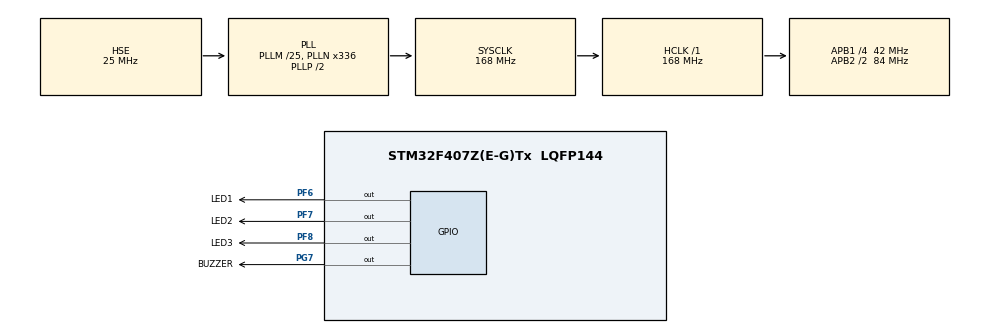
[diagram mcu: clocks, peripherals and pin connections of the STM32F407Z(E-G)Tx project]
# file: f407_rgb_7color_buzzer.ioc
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Mcu.Family=STM32F4
Mcu.Name=STM32F407Z(E-G)Tx
Mcu.Package=LQFP144
NVIC.PriorityGroup=NVIC_PRIORITYGROUP_4
PA13.Mode=Serial_Wire
PA13.Signal=SYS_JTMS-SWDIO
PA14.Mode=Serial_Wire
PA14.Signal=SYS_JTCK-SWCLK
PF6.GPIO_Label=LED1
PF6.PinState=GPIO_PIN_SET
PF6.Signal=GPIO_Output
PF7.GPIO_Label=LED2
PF7.PinState=GPIO_PIN_SET
PF7.Signal=GPIO_Output
PF8.GPIO_Label=LED3
PF8.PinState=GPIO_PIN_SET
PF8.Signal=GPIO_Output
PG7.GPIO_Label=BUZZER
PG7.Signal=GPIO_Output
PH0-OSC_IN.Mode=HSE-External-Oscillator
PH0-OSC_IN.Signal=RCC_OSC_IN
PH1-OSC_OUT.Mode=HSE-External-Oscillator
PH1-OSC_OUT.Signal=RCC_OSC_OUT
ProjectManager.HeapSize=0x200
ProjectManager.StackSize=0x400
ProjectManager.TargetToolchain=CMake
RCC.48MHZClocksFreq_Value=84000000
RCC.AHBFreq_Value=168000000
RCC.APB1CLKDivider=RCC_HCLK_DIV4
RCC.APB1Freq_Value=42000000
RCC.APB1TimFreq_Value=84000000
RCC.APB2CLKDivider=RCC_HCLK_DIV2
RCC.APB2Freq_Value=84000000
RCC.APB2TimFreq_Value=168000000
RCC.CortexFreq_Value=168000000
RCC.HCLKFreq_Value=168000000
RCC.HSE_VALUE=25000000
RCC.HSI_VALUE=16000000
RCC.LSE_VALUE=32768
RCC.PLLM=25
RCC.PLLN=336
RCC.PLLSourceVirtual=RCC_PLLSOURCE_HSE
RCC.SYSCLKFreq_VALUE=168000000
RCC.SYSCLKSource=RCC_SYSCLKSOURCE_PLLCLK
RCC.VCOOutputFreq_Value=336000000
board=custom

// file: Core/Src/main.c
/* USER CODE BEGIN Header */
/**
  ******************************************************************************
  * @file           : main.c
  * @brief          : Main program body
  ******************************************************************************
  * @attention
  *
  * Copyright (c) 2026 STMicroelectronics.
  * All rights reserved.
  *
  * This software is licensed under terms that can be found in the LICENSE file
  * in the root directory of this software component.
  * If no LICENSE file comes with this software, it is provided AS-IS.
  *
  ******************************************************************************
  */
/* USER CODE END Header */
#include "main.h"

/* USER CODE BEGIN PD */
/*
 * 以下时间参数的单位都是毫秒，由 HAL_Delay() 使用。
 * 使用宏集中管理参数，调整灯效时不必修改主循环的控制逻辑。
 * 整数字面量后的 U 表示 unsigned，和 HAL 的 uint32_t 参数类型一致。
 */
#define COLOR_DELAY_MS              200U  /* 每种颜色保持 200 ms */
#define COLOR_TO_BUZZER_GAP_MS      100U  /* 熄灯后等待一小段时间再蜂鸣 */
#define BUZZER_DURATION_MS          200U  /* 蜂鸣器持续响 200 ms */
#define ROUND_INTERVAL_MS           500U  /* 一轮结束到下一轮开始的间隔 */

/*
 * 用 uint32_t 的低三位表示红、绿、蓝三个逻辑通道：
 * bit0 = 红，bit1 = 绿，bit2 = 蓝。
 * 1U << n 表示把无符号整数 1 左移 n 位，得到互不重叠的位掩码。
 */
#define COLOR_OFF          0U
#define COLOR_RED          (1U << 0)
#define COLOR_GREEN        (1U << 1)
#define COLOR_BLUE         (1U << 2)

/*
 * 按位或运算符 | 可以同时置位多个颜色通道。
 * 例如 COLOR_RED | COLOR_GREEN 的二进制值是 011，即红、绿同时点亮。
 */
#define COLOR_YELLOW       (COLOR_RED | COLOR_GREEN)
#define COLOR_PURPLE       (COLOR_RED | COLOR_BLUE)
#define COLOR_CYAN         (COLOR_GREEN | COLOR_BLUE)
#define COLOR_WHITE        (COLOR_RED | COLOR_GREEN | COLOR_BLUE)

/* USER CODE END PD */

/* USER CODE BEGIN PV */
/*
 * 颜色播放表：把“播放顺序”与“播放方法”分开。
 * static：该数组只在本 main.c 中可见；
 * const：运行期间只读，防止代码意外修改颜色表。
 */
static const uint32_t color_sequence[] =
{
  COLOR_RED,
  COLOR_YELLOW,
  COLOR_GREEN,
  COLOR_CYAN,
  COLOR_BLUE,
  COLOR_PURPLE,
  COLOR_WHITE
};
/* USER CODE END PV */

void SystemClock_Config(void);
static void MX_GPIO_Init(void);
/* USER CODE BEGIN PFP */
/* 根据颜色位掩码，一次更新 RGB 三个通道的亮灭状态。 */
static void RGB_SetColor(uint32_t color);

/* 让板载蜂鸣器响指定的毫秒数，然后自动关闭。 */
static void Buzzer_Beep(uint32_t duration_ms);
/* USER CODE END PFP */

int main(void)
{

  /* MCU Configuration--------------------------------------------------------*/

  /* Reset of all peripherals, Initializes the Flash interface and the Systick. */
  HAL_Init();

  /* Configure the system clock */
  SystemClock_Config();

  /* Initialize all configured peripherals */
  MX_GPIO_Init();

  /* Infinite loop */
  while (1)
  {

    /* USER CODE BEGIN 3 */
    /*
     * sizeof(整个数组) / sizeof(一个元素) 可以得到数组元素个数。
     * 这样以后增加或删除颜色时，不需要手动修改循环上限。
     */
    for (uint32_t i = 0U;
         i < sizeof(color_sequence) / sizeof(color_sequence[0]);
         i++)
    {
      /* 读取颜色表中的第 i 个颜色，并更新三个 GPIO。 */
      RGB_SetColor(color_sequence[i]);

      /* 阻塞保持当前颜色；本项目简单，暂时允许使用阻塞延时。 */
      HAL_Delay(COLOR_DELAY_MS);
    }

    /* 一轮颜色结束后关闭 RGB，避免蜂鸣时仍保持白色。 */
    RGB_SetColor(COLOR_OFF);
    HAL_Delay(COLOR_TO_BUZZER_GAP_MS);

    /* 用声音提示七种颜色已经完整播放一轮。 */
    Buzzer_Beep(BUZZER_DURATION_MS);

    /* 保留轮次间隔，避免蜂鸣声连续得难以分辨。 */
    HAL_Delay(ROUND_INTERVAL_MS);
  }
  /* USER CODE END 3 */
}

void SystemClock_Config(void)
{
  RCC_OscInitTypeDef RCC_OscInitStruct = {0};
  RCC_ClkInitTypeDef RCC_ClkInitStruct = {0};

  /** Configure the main internal regulator output voltage
  */
  __HAL_RCC_PWR_CLK_ENABLE();
  __HAL_PWR_VOLTAGESCALING_CONFIG(PWR_REGULATOR_VOLTAGE_SCALE1);

  /** Initializes the RCC Oscillators according to the specified parameters
  * in the RCC_OscInitTypeDef structure.
  */
  RCC_OscInitStruct.OscillatorType = RCC_OSCILLATORTYPE_HSE;
  RCC_OscInitStruct.HSEState = RCC_HSE_ON;
  RCC_OscInitStruct.PLL.PLLState = RCC_PLL_ON;
  RCC_OscInitStruct.PLL.PLLSource = RCC_PLLSOURCE_HSE;
  RCC_OscInitStruct.PLL.PLLM = 25;
  RCC_OscInitStruct.PLL.PLLN = 336;
  RCC_OscInitStruct.PLL.PLLP = RCC_PLLP_DIV2;
  RCC_OscInitStruct.PLL.PLLQ = 4;
  if (HAL_RCC_OscConfig(&RCC_OscInitStruct) != HAL_OK)
  {
    Error_Handler();
  }

  /** Initializes the CPU, AHB and APB buses clocks
  */
  RCC_ClkInitStruct.ClockType = RCC_CLOCKTYPE_HCLK|RCC_CLOCKTYPE_SYSCLK
                              |RCC_CLOCKTYPE_PCLK1|RCC_CLOCKTYPE_PCLK2;
  RCC_ClkInitStruct.SYSCLKSource = RCC_SYSCLKSOURCE_PLLCLK;
  RCC_ClkInitStruct.AHBCLKDivider = RCC_SYSCLK_DIV1;
  RCC_ClkInitStruct.APB1CLKDivider = RCC_HCLK_DIV4;
  RCC_ClkInitStruct.APB2CLKDivider = RCC_HCLK_DIV2;

  if (HAL_RCC_ClockConfig(&RCC_ClkInitStruct, FLASH_LATENCY_5) != HAL_OK)
  {
    Error_Handler();
  }
}

static void MX_GPIO_Init(void)
{
  GPIO_InitTypeDef GPIO_InitStruct = {0};

  /* GPIO Ports Clock Enable */
  __HAL_RCC_GPIOF_CLK_ENABLE();
  __HAL_RCC_GPIOH_CLK_ENABLE();
  __HAL_RCC_GPIOG_CLK_ENABLE();
  __HAL_RCC_GPIOA_CLK_ENABLE();

  /*Configure GPIO pin Output Level */
  HAL_GPIO_WritePin(GPIOF, LED1_Pin|LED2_Pin|LED3_Pin, GPIO_PIN_SET);

  /*Configure GPIO pin Output Level */
  HAL_GPIO_WritePin(BUZZER_GPIO_Port, BUZZER_Pin, GPIO_PIN_RESET);

  /*Configure GPIO pins : LED1_Pin LED2_Pin LED3_Pin */
  GPIO_InitStruct.Pin = LED1_Pin|LED2_Pin|LED3_Pin;
  GPIO_InitStruct.Mode = GPIO_MODE_OUTPUT_PP;
  GPIO_InitStruct.Pull = GPIO_NOPULL;
  GPIO_InitStruct.Speed = GPIO_SPEED_FREQ_LOW;
  HAL_GPIO_Init(GPIOF, &GPIO_InitStruct);

  /*Configure GPIO pin : BUZZER_Pin */
  GPIO_InitStruct.Pin = BUZZER_Pin;
  GPIO_InitStruct.Mode = GPIO_MODE_OUTPUT_PP;
  GPIO_InitStruct.Pull = GPIO_NOPULL;
  GPIO_InitStruct.Speed = GPIO_SPEED_FREQ_LOW;
  HAL_GPIO_Init(BUZZER_GPIO_Port, &GPIO_InitStruct);

}

/* USER CODE BEGIN 4 */
/**
  * @brief  根据逻辑颜色值控制板载 RGB LED。
  * @param  color 由 COLOR_RED/GREEN/BLUE 按位组合成的颜色掩码。
  * @retval None
  *
  * 板载 RGB LED 为低电平有效：GPIO 输出低电平时点亮，输出高电平时熄灭。
  * 因此这里把“逻辑上选中某颜色”转换成 GPIO_PIN_RESET。
  */
static void RGB_SetColor(uint32_t color)
{
  /*
   * color & COLOR_RED 用按位与检查红色位：
   * 结果非 0 表示需要点亮红灯，结果为 0 表示需要熄灭红灯。
   * 条件运算符“条件 ? 值1 : 值2”根据检查结果选择输出电平。
   */
  HAL_GPIO_WritePin(
      LED1_GPIO_Port,
      LED1_Pin,
      (color & COLOR_RED) ? GPIO_PIN_RESET : GPIO_PIN_SET);

  /* 使用同样的方法检查绿色位并控制 PF7。 */
  HAL_GPIO_WritePin(
      LED2_GPIO_Port,
      LED2_Pin,
      (color & COLOR_GREEN) ? GPIO_PIN_RESET : GPIO_PIN_SET);

  /* 使用同样的方法检查蓝色位并控制 PF8。 */
  HAL_GPIO_WritePin(
      LED3_GPIO_Port,
      LED3_Pin,
      (color & COLOR_BLUE) ? GPIO_PIN_RESET : GPIO_PIN_SET);
}

/**
  * @brief  产生一次固定时长的蜂鸣提示。
  * @param  duration_ms 蜂鸣持续时间，单位为毫秒。
  * @retval None
  *
  * 霸天虎 V2 的蜂鸣器由 PG7 高电平使能、低电平关闭。
  * 函数退出前主动恢复低电平，保证调用结束后蜂鸣器保持安静。
  */
static void Buzzer_Beep(uint32_t duration_ms)
{
  /* PG7 置高，打开板载蜂鸣器。 */
  HAL_GPIO_WritePin(
      BUZZER_GPIO_Port,
      BUZZER_Pin,
      GPIO_PIN_SET);

  /* 保持蜂鸣 duration_ms 毫秒；这是阻塞延时。 */
  HAL_Delay(duration_ms);

  /* PG7 恢复低电平，关闭蜂鸣器，避免持续鸣叫。 */
  HAL_GPIO_WritePin(
      BUZZER_GPIO_Port,
      BUZZER_Pin,
      GPIO_PIN_RESET);
}
/* USER CODE END 4 */

void Error_Handler(void)
{
  __disable_irq();
  while (1)
  {
  }
}
